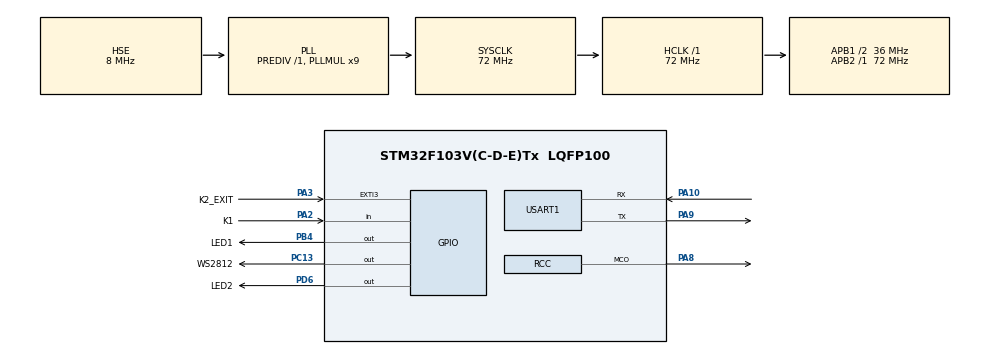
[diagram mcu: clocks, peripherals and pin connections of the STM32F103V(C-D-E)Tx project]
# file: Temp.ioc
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Mcu.Family=STM32F1
Mcu.Name=STM32F103V(C-D-E)Tx
Mcu.Package=LQFP100
NVIC.EXTI3_IRQn=true\:0\:0\:false\:false\:true\:true\:true\:true
NVIC.PriorityGroup=NVIC_PRIORITYGROUP_4
NVIC.USART1_IRQn=true\:0\:0\:false\:false\:true\:true\:true\:true
OSC_IN.Mode=HSE-External-Oscillator
OSC_IN.Signal=RCC_OSC_IN
OSC_OUT.Mode=HSE-External-Oscillator
OSC_OUT.Signal=RCC_OSC_OUT
PA10.Mode=Asynchronous
PA10.Signal=USART1_RX
PA13.Mode=Serial_Wire
PA13.Signal=SYS_JTMS-SWDIO
PA14.Mode=Serial_Wire
PA14.Signal=SYS_JTCK-SWCLK
PA2.GPIO_Label=K1
PA2.Signal=GPIO_Input
PA3.GPIO_Label=K2_EXIT
PA3.GPIO_ModeDefaultEXTI=GPIO_MODE_IT_FALLING
PA3.Signal=GPXTI3
PA8.Mode=Clock-out
PA8.Signal=RCC_MCO
PA9.Mode=Asynchronous
PA9.Signal=USART1_TX
PB4.GPIO_Label=LED1
PB4.GPIO_ModeDefaultOutputPP=GPIO_MODE_OUTPUT_PP
PB4.GPIO_PuPd=GPIO_PULLUP
PB4.GPIO_Speed=GPIO_SPEED_FREQ_HIGH
PB4.PinState=GPIO_PIN_SET
PB4.Signal=GPIO_Output
PC13-TAMPER-RTC.GPIO_Label=WS2812
PC13-TAMPER-RTC.GPIO_PuPd=GPIO_PULLUP
PC13-TAMPER-RTC.GPIO_Speed=GPIO_SPEED_FREQ_HIGH
PC13-TAMPER-RTC.PinState=GPIO_PIN_SET
PC13-TAMPER-RTC.Signal=GPIO_Output
PC14-OSC32_IN.Mode=LSE-External-Oscillator
PC14-OSC32_IN.Signal=RCC_OSC32_IN
PC15-OSC32_OUT.Mode=LSE-External-Oscillator
PC15-OSC32_OUT.Signal=RCC_OSC32_OUT
PD6.GPIO_Label=LED2
PD6.GPIO_ModeDefaultOutputPP=GPIO_MODE_OUTPUT_PP
PD6.GPIO_PuPd=GPIO_PULLUP
PD6.GPIO_Speed=GPIO_SPEED_FREQ_HIGH
PD6.PinState=GPIO_PIN_SET
PD6.Signal=GPIO_Output
ProjectManager.HeapSize=0x200
ProjectManager.StackSize=0x400
ProjectManager.TargetToolchain=Makefile
RCC.AHBFreq_Value=72000000
RCC.APB1CLKDivider=RCC_HCLK_DIV2
RCC.APB1Freq_Value=36000000
RCC.APB1TimFreq_Value=72000000
RCC.APB2Freq_Value=72000000
RCC.APB2TimFreq_Value=72000000
RCC.HCLKFreq_Value=72000000
RCC.PLLMUL=RCC_PLL_MUL9
RCC.PLLSourceVirtual=RCC_PLLSOURCE_HSE
RCC.RCC_MCOSource=RCC_MCO1SOURCE_PLLCLK
RCC.SYSCLKFreq_VALUE=72000000
RCC.SYSCLKSource=RCC_SYSCLKSOURCE_PLLCLK
RCC.USBFreq_Value=72000000
USART1.VirtualMode=VM_ASYNC
board=custom

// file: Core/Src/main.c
/* USER CODE BEGIN Header */
/**
  ******************************************************************************
  * @file           : main.c
  * @brief          : Main program body
  ******************************************************************************
  * @attention
  *
  * Copyright (c) 2025 STMicroelectronics.
  * All rights reserved.
  *
  * This software is licensed under terms that can be found in the LICENSE file
  * in the root directory of this software component.
  * If no LICENSE file comes with this software, it is provided AS-IS.
  *
  ******************************************************************************
  */
/* USER CODE END Header */
#include "main.h"

/* USER CODE BEGIN Includes */
#include "stdio.h"//printf函数
/* USER CODE END Includes */

/* USER CODE BEGIN PTD */
uint8_t rx_buff[100];  //接收缓存
uint8_t rx_done = 0; //接收完成标志
uint8_t rx_cnt = 0;//接收数据长度
/* USER CODE END PTD */

UART_HandleTypeDef huart1;

void SystemClock_Config(void);
static void MX_GPIO_Init(void);
static void MX_USART1_UART_Init(void);
/* USER CODE BEGIN PFP */
//发送RGB数据，显示对应颜色
void sendRGB(uint8_t r, uint8_t g, uint8_t b);
// 发送一个字节
void sendByte(uint8_t byte);
// 发送单个比特
void sendBit(uint8_t bitVal);
/* USER CODE END PFP */

int main(void)
{

  /* MCU Configuration--------------------------------------------------------*/

  /* Reset of all peripherals, Initializes the Flash interface and the Systick. */
  HAL_Init();

  /* Configure the system clock */
  SystemClock_Config();

  /* Initialize all configured peripherals */
  MX_GPIO_Init();
  MX_USART1_UART_Init();
  /* USER CODE BEGIN 2 */
  //串口发送数据测试
  unsigned char Sendbuf[] = "RYMCU nebula-pi usart1 test!\r\n";
  HAL_UART_Transmit(&huart1,Sendbuf, sizeof(Sendbuf), HAL_MAX_DELAY); // 串口发�?�数�?
  HAL_Delay(1000);
  //printf打印数据测试
  printf("hello,enjoy!\r\n");
  HAL_Delay(1000);
  /* USER CODE END 2 */

  /* Infinite loop */
  while (1)
  {

    /* USER CODE BEGIN 3 */
    sendRGB(0, 25, 0); //设置绿色
    HAL_Delay(1000);
    sendRGB(0, 0, 25);//设置蓝色
    HAL_Delay(1000);
    sendRGB(25, 0, 0);//设置红色
    HAL_Delay(1000);
  }
  /* USER CODE END 3 */
}

void SystemClock_Config(void)
{
  RCC_OscInitTypeDef RCC_OscInitStruct = {0};
  RCC_ClkInitTypeDef RCC_ClkInitStruct = {0};

  /** Initializes the RCC Oscillators according to the specified parameters
  * in the RCC_OscInitTypeDef structure.
  */
  RCC_OscInitStruct.OscillatorType = RCC_OSCILLATORTYPE_HSE;
  RCC_OscInitStruct.HSEState = RCC_HSE_ON;
  RCC_OscInitStruct.HSEPredivValue = RCC_HSE_PREDIV_DIV1;
  RCC_OscInitStruct.HSIState = RCC_HSI_ON;
  RCC_OscInitStruct.PLL.PLLState = RCC_PLL_ON;
  RCC_OscInitStruct.PLL.PLLSource = RCC_PLLSOURCE_HSE;
  RCC_OscInitStruct.PLL.PLLMUL = RCC_PLL_MUL9;
  if (HAL_RCC_OscConfig(&RCC_OscInitStruct) != HAL_OK)
  {
    Error_Handler();
  }

  /** Initializes the CPU, AHB and APB buses clocks
  */
  RCC_ClkInitStruct.ClockType = RCC_CLOCKTYPE_HCLK|RCC_CLOCKTYPE_SYSCLK
                              |RCC_CLOCKTYPE_PCLK1|RCC_CLOCKTYPE_PCLK2;
  RCC_ClkInitStruct.SYSCLKSource = RCC_SYSCLKSOURCE_PLLCLK;
  RCC_ClkInitStruct.AHBCLKDivider = RCC_SYSCLK_DIV1;
  RCC_ClkInitStruct.APB1CLKDivider = RCC_HCLK_DIV2;
  RCC_ClkInitStruct.APB2CLKDivider = RCC_HCLK_DIV1;

  if (HAL_RCC_ClockConfig(&RCC_ClkInitStruct, FLASH_LATENCY_2) != HAL_OK)
  {
    Error_Handler();
  }
  HAL_RCC_MCOConfig(RCC_MCO, RCC_MCO1SOURCE_PLLCLK, RCC_MCODIV_1);
}

static void MX_USART1_UART_Init(void)
{

  huart1.Instance = USART1;
  huart1.Init.BaudRate = 115200;
  huart1.Init.WordLength = UART_WORDLENGTH_8B;
  huart1.Init.StopBits = UART_STOPBITS_1;
  huart1.Init.Parity = UART_PARITY_NONE;
  huart1.Init.Mode = UART_MODE_TX_RX;
  huart1.Init.HwFlowCtl = UART_HWCONTROL_NONE;
  huart1.Init.OverSampling = UART_OVERSAMPLING_16;
  if (HAL_UART_Init(&huart1) != HAL_OK)
  {
    Error_Handler();
  }
  /* USER CODE BEGIN USART1_Init 2 */
  //开启接收中断，空闲中断
  __HAL_UART_ENABLE_IT(&huart1,UART_IT_IDLE|UART_IT_RXNE);
  /* USER CODE END USART1_Init 2 */

}

static void MX_GPIO_Init(void)
{
  GPIO_InitTypeDef GPIO_InitStruct = {0};

  /* GPIO Ports Clock Enable */
  __HAL_RCC_GPIOC_CLK_ENABLE();
  __HAL_RCC_GPIOA_CLK_ENABLE();
  __HAL_RCC_GPIOD_CLK_ENABLE();
  __HAL_RCC_GPIOB_CLK_ENABLE();

  /*Configure GPIO pin Output Level */
  HAL_GPIO_WritePin(WS2812_GPIO_Port, WS2812_Pin, GPIO_PIN_SET);

  /*Configure GPIO pin Output Level */
  HAL_GPIO_WritePin(LED2_GPIO_Port, LED2_Pin, GPIO_PIN_SET);

  /*Configure GPIO pin Output Level */
  HAL_GPIO_WritePin(LED1_GPIO_Port, LED1_Pin, GPIO_PIN_SET);

  /*Configure GPIO pin : WS2812_Pin */
  GPIO_InitStruct.Pin = WS2812_Pin;
  GPIO_InitStruct.Mode = GPIO_MODE_OUTPUT_PP;
  GPIO_InitStruct.Pull = GPIO_PULLUP;
  GPIO_InitStruct.Speed = GPIO_SPEED_FREQ_HIGH;
  HAL_GPIO_Init(WS2812_GPIO_Port, &GPIO_InitStruct);

  /*Configure GPIO pin : K1_Pin */
  GPIO_InitStruct.Pin = K1_Pin;
  GPIO_InitStruct.Mode = GPIO_MODE_INPUT;
  GPIO_InitStruct.Pull = GPIO_NOPULL;
  HAL_GPIO_Init(K1_GPIO_Port, &GPIO_InitStruct);

  /*Configure GPIO pin : K2_EXIT_Pin */
  GPIO_InitStruct.Pin = K2_EXIT_Pin;
  GPIO_InitStruct.Mode = GPIO_MODE_IT_FALLING;
  GPIO_InitStruct.Pull = GPIO_NOPULL;
  HAL_GPIO_Init(K2_EXIT_GPIO_Port, &GPIO_InitStruct);

  /*Configure GPIO pin : PA8 */
  GPIO_InitStruct.Pin = GPIO_PIN_8;
  GPIO_InitStruct.Mode = GPIO_MODE_AF_PP;
  GPIO_InitStruct.Speed = GPIO_SPEED_FREQ_LOW;
  HAL_GPIO_Init(GPIOA, &GPIO_InitStruct);

  /*Configure GPIO pin : LED2_Pin */
  GPIO_InitStruct.Pin = LED2_Pin;
  GPIO_InitStruct.Mode = GPIO_MODE_OUTPUT_PP;
  GPIO_InitStruct.Pull = GPIO_PULLUP;
  GPIO_InitStruct.Speed = GPIO_SPEED_FREQ_HIGH;
  HAL_GPIO_Init(LED2_GPIO_Port, &GPIO_InitStruct);

  /*Configure GPIO pin : LED1_Pin */
  GPIO_InitStruct.Pin = LED1_Pin;
  GPIO_InitStruct.Mode = GPIO_MODE_OUTPUT_PP;
  GPIO_InitStruct.Pull = GPIO_PULLUP;
  GPIO_InitStruct.Speed = GPIO_SPEED_FREQ_HIGH;
  HAL_GPIO_Init(LED1_GPIO_Port, &GPIO_InitStruct);

  /* EXTI interrupt init*/
  HAL_NVIC_SetPriority(EXTI3_IRQn, 0, 0);
  HAL_NVIC_EnableIRQ(EXTI3_IRQn);

}

/* USER CODE BEGIN 4 */
#ifdef __GNUC__
#define PUTCHAR_PROTOTYPE int __io_putchar(int ch)
#else
#define PUTCHAR_PROTOTYPE int fputc(int ch,FILE *f)
#endif /* __GNUC__ */
//重定向printf函数
PUTCHAR_PROTOTYPE
{
    HAL_UART_Transmit(&huart1,(uint8_t *)&ch,1,HAL_MAX_DELAY);//输出指向串口USART1
    return ch;
}
//重写GPIO中断处理函数
void HAL_GPIO_EXTI_Callback(uint16_t GPIO_Pin)
{
    //翻转LED1
    HAL_GPIO_TogglePin(LED1_GPIO_Port,LED1_Pin);
    //打印中断处理信息
    printf("K2 ExTi interrput!\r\n");
}
//发送RGB数据，显示对应颜色
void sendRGB(uint8_t r, uint8_t g, uint8_t b)
{
    sendByte(g);
    sendByte(r);
    sendByte(b);
}
// 发送一个字节
void sendByte(uint8_t byte)
{
    for (int i = 0; i < 8; i++)
    {
        sendBit(byte & 0x80);
        byte <<= 1;
    }
}
// 发送单个比特
void sendBit(uint8_t bitVal)
{
    if (bitVal)
    {
        HAL_GPIO_WritePin(WS2812_GPIO_Port, WS2812_Pin, GPIO_PIN_SET);
        // 根据WS2812时序要求，高电平时间
        for (int i = 0; i < 10; i++)
        {
            __NOP();
        }
        HAL_GPIO_WritePin(WS2812_GPIO_Port, WS2812_Pin, GPIO_PIN_RESET);
        // 低电平时间
        for (int j = 0; j < 5; j++)
        {
            __NOP();
        }
    }
    else
    {
        HAL_GPIO_WritePin(WS2812_GPIO_Port, WS2812_Pin, GPIO_PIN_SET);
        for (int i = 0; i < 5; i++)
        {
            __NOP();
        }
        HAL_GPIO_WritePin(WS2812_GPIO_Port, WS2812_Pin, GPIO_PIN_RESET);
        for (int j = 0; j < 10; j++)
        {
            __NOP();
        }
    }
}
/* USER CODE END 4 */

void Error_Handler(void)
{
  __disable_irq();
  while (1)
  {
  }
}
